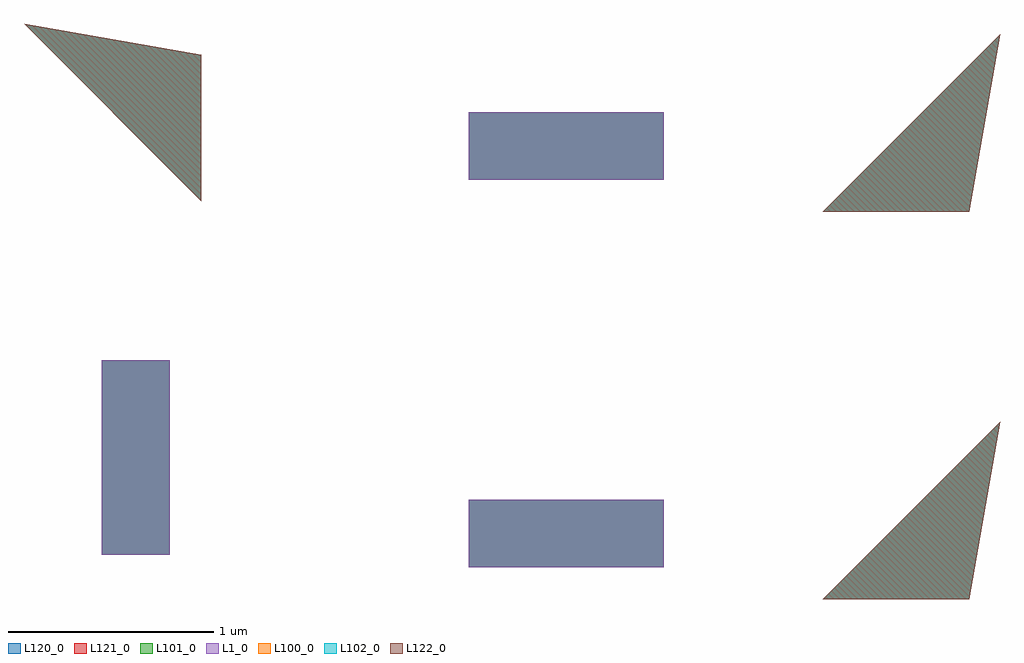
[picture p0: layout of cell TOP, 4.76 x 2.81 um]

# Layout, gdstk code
import gdstk
lib = gdstk.Library(unit=1e-6, precision=1e-09)
def R(c, l, rs):  # rectangles x0, y0, x1, y1
    for r in rs: c.add(gdstk.rectangle(r[:2], r[2:], *l))
def P(c, l, *ps):  # polygons
    for p in ps: c.add(gdstk.Polygon(p, *l))
L1_0 = (1, 0)
L100_0 = (100, 0)
L101_0 = (101, 0)
L102_0 = (102, 0)
L120_0 = (120, 0)
L121_0 = (121, 0)
L122_0 = (122, 0)
L200_0 = (200, 0)
L201_0 = (201, 0)
L202_0 = (202, 0)
L203_0 = (203, 0)
L204_0 = (204, 0)
L205_0 = (205, 0)
L220_0 = (220, 0)
L221_0 = (221, 0)
L222_0 = (222, 0)
L223_0 = (223, 0)
L224_0 = (224, 0)
L225_0 = (225, 0)

top = lib.new_cell('TOP')
R(top, L1_0, [(-1.47,0.58,-0.52,0.91), (-3.26,0.64,-2.93,1.59), (-1.47,2.47,-0.52,2.8)])
P(top, L1_0, [(0.255,0.425),(1.12,1.29),(0.97,0.425)],
  [(-2.775,2.365),(-3.64,3.23),(-2.775,3.08)],
  [(0.255,2.315),(1.12,3.18),(0.97,2.315)])
P(top, L100_0, [(0.255,0.425),(1.12,1.29),(0.97,0.425)],
  [(0.255,2.315),(1.12,3.18),(0.97,2.315)],
  [(-2.775,2.365),(-3.64,3.23),(-2.775,3.08)])
P(top, L101_0, [(-1.47,0.58),(-1.47,0.91),(-0.52,0.91)],
  [(-0.52,0.58),(-1.47,0.91),(-0.52,0.91)],
  [(-1.47,0.58),(-0.52,0.91),(-0.52,0.58)],
  [(-1.47,0.58),(-1.47,0.91),(-0.52,0.58)],
  [(-3.26,0.64),(-3.26,1.59),(-2.93,1.59)],
  [(-2.93,0.64),(-3.26,1.59),(-2.93,1.59)],
  [(-3.26,0.64),(-2.93,1.59),(-2.93,0.64)],
  [(-3.26,0.64),(-3.26,1.59),(-2.93,0.64)],
  [(-1.47,2.47),(-1.47,2.8),(-0.52,2.8)],
  [(-0.52,2.47),(-1.47,2.8),(-0.52,2.8)],
  [(-1.47,2.47),(-0.52,2.8),(-0.52,2.47)],
  [(-1.47,2.47),(-1.47,2.8),(-0.52,2.47)])
P(top, L102_0, [(0.255,0.425),(1.12,1.29),(0.97,0.425)],
  [(0.255,2.315),(1.12,3.18),(0.97,2.315)],
  [(-2.775,2.365),(-3.64,3.23),(-2.775,3.08)])
P(top, L120_0, [(-1.47,0.58),(-1.47,0.91),(-0.52,0.91)],
  [(-0.52,0.58),(-1.47,0.91),(-0.52,0.91)],
  [(-1.47,0.58),(-0.52,0.91),(-0.52,0.58)],
  [(-1.47,0.58),(-1.47,0.91),(-0.52,0.58)],
  [(0.255,0.425),(1.12,1.29),(0.97,0.425)],
  [(0.255,0.425),(1.12,1.29),(0.97,0.425)],
  [(-3.26,0.64),(-3.26,1.59),(-2.93,1.59)],
  [(-2.93,0.64),(-3.26,1.59),(-2.93,1.59)],
  [(-3.26,0.64),(-2.93,1.59),(-2.93,0.64)],
  [(-3.26,0.64),(-3.26,1.59),(-2.93,0.64)],
  [(-1.47,2.47),(-1.47,2.8),(-0.52,2.8)],
  [(-0.52,2.47),(-1.47,2.8),(-0.52,2.8)],
  [(-1.47,2.47),(-0.52,2.8),(-0.52,2.47)],
  [(-1.47,2.47),(-1.47,2.8),(-0.52,2.47)],
  [(0.255,2.315),(1.12,3.18),(0.97,2.315)],
  [(0.255,2.315),(1.12,3.18),(0.97,2.315)],
  [(-2.775,2.365),(-3.64,3.23),(-2.775,3.08)],
  [(-2.775,2.365),(-3.64,3.23),(-2.775,3.08)])
P(top, L121_0, [(0.255,0.425),(1.12,1.29),(0.97,0.425)],
  [(0.255,0.425),(1.12,1.29),(0.97,0.425)],
  [(0.255,0.425),(1.12,1.29),(0.97,0.425)],
  [(0.255,2.315),(1.12,3.18),(0.97,2.315)],
  [(0.255,2.315),(1.12,3.18),(0.97,2.315)],
  [(0.255,2.315),(1.12,3.18),(0.97,2.315)],
  [(-2.775,2.365),(-3.64,3.23),(-2.775,3.08)],
  [(-2.775,2.365),(-3.64,3.23),(-2.775,3.08)],
  [(-2.775,2.365),(-3.64,3.23),(-2.775,3.08)])
P(top, L122_0, [(0.255,0.425),(1.12,1.29),(0.97,0.425)],
  [(0.255,2.315),(1.12,3.18),(0.97,2.315)],
  [(-2.775,2.365),(-3.64,3.23),(-2.775,3.08)])
top.add(gdstk.FlexPath([(0.255,0.425),(1.12,1.29)], 0, ends="flush", simple_path=True, layer=200, datatype=0))  # L200_0
top.add(gdstk.FlexPath([(0.255,2.315),(1.12,3.18)], 0, ends="flush", simple_path=True, layer=200, datatype=0))  # L200_0
top.add(gdstk.FlexPath([(-1.47,0.91),(-0.52,0.91)], 0, ends="flush", simple_path=True, layer=201, datatype=0))  # L201_0
top.add(gdstk.FlexPath([(-0.52,0.58),(-1.47,0.58)], 0, ends="flush", simple_path=True, layer=201, datatype=0))  # L201_0
top.add(gdstk.FlexPath([(0.97,0.425),(0.255,0.425)], 0, ends="flush", simple_path=True, layer=201, datatype=0))  # L201_0
top.add(gdstk.FlexPath([(-3.26,1.59),(-2.93,1.59)], 0, ends="flush", simple_path=True, layer=201, datatype=0))  # L201_0
top.add(gdstk.FlexPath([(-2.93,0.64),(-3.26,0.64)], 0, ends="flush", simple_path=True, layer=201, datatype=0))  # L201_0
top.add(gdstk.FlexPath([(-1.47,2.8),(-0.52,2.8)], 0, ends="flush", simple_path=True, layer=201, datatype=0))  # L201_0
top.add(gdstk.FlexPath([(-0.52,2.47),(-1.47,2.47)], 0, ends="flush", simple_path=True, layer=201, datatype=0))  # L201_0
top.add(gdstk.FlexPath([(0.97,2.315),(0.255,2.315)], 0, ends="flush", simple_path=True, layer=201, datatype=0))  # L201_0
top.add(gdstk.FlexPath([(-1.47,0.58),(-1.47,0.91)], 0, ends="flush", simple_path=True, layer=202, datatype=0))  # L202_0
top.add(gdstk.FlexPath([(-0.52,0.91),(-0.52,0.58)], 0, ends="flush", simple_path=True, layer=202, datatype=0))  # L202_0
top.add(gdstk.FlexPath([(0.255,0.425),(1.12,1.29)], 0, ends="flush", simple_path=True, layer=202, datatype=0))  # L202_0
top.add(gdstk.FlexPath([(1.12,1.29),(0.97,0.425)], 0, ends="flush", simple_path=True, layer=202, datatype=0))  # L202_0
top.add(gdstk.FlexPath([(-3.26,0.64),(-3.26,1.59)], 0, ends="flush", simple_path=True, layer=202, datatype=0))  # L202_0
top.add(gdstk.FlexPath([(-2.93,1.59),(-2.93,0.64)], 0, ends="flush", simple_path=True, layer=202, datatype=0))  # L202_0
top.add(gdstk.FlexPath([(-1.47,2.47),(-1.47,2.8)], 0, ends="flush", simple_path=True, layer=202, datatype=0))  # L202_0
top.add(gdstk.FlexPath([(-0.52,2.8),(-0.52,2.47)], 0, ends="flush", simple_path=True, layer=202, datatype=0))  # L202_0
top.add(gdstk.FlexPath([(0.255,2.315),(1.12,3.18)], 0, ends="flush", simple_path=True, layer=202, datatype=0))  # L202_0
top.add(gdstk.FlexPath([(1.12,3.18),(0.97,2.315)], 0, ends="flush", simple_path=True, layer=202, datatype=0))  # L202_0
top.add(gdstk.FlexPath([(-2.775,3.08),(-2.775,2.365)], 0, ends="flush", simple_path=True, layer=202, datatype=0))  # L202_0
top.add(gdstk.FlexPath([(0.255,0.425),(1.12,1.29)], 0, ends="flush", simple_path=True, layer=203, datatype=0))  # L203_0
top.add(gdstk.FlexPath([(0.255,2.315),(1.12,3.18)], 0, ends="flush", simple_path=True, layer=203, datatype=0))  # L203_0
top.add(gdstk.FlexPath([(-2.775,2.365),(-3.64,3.23)], 0, ends="flush", simple_path=True, layer=203, datatype=0))  # L203_0
top.add(gdstk.FlexPath([(-1.47,0.58),(-1.47,0.91)], 0, ends="flush", simple_path=True, layer=204, datatype=0))  # L204_0
top.add(gdstk.FlexPath([(-0.52,0.91),(-0.52,0.58)], 0, ends="flush", simple_path=True, layer=204, datatype=0))  # L204_0
top.add(gdstk.FlexPath([(0.255,0.425),(1.12,1.29)], 0, ends="flush", simple_path=True, layer=204, datatype=0))  # L204_0
top.add(gdstk.FlexPath([(1.12,1.29),(0.97,0.425)], 0, ends="flush", simple_path=True, layer=204, datatype=0))  # L204_0
top.add(gdstk.FlexPath([(-3.26,0.64),(-3.26,1.59)], 0, ends="flush", simple_path=True, layer=204, datatype=0))  # L204_0
top.add(gdstk.FlexPath([(-2.93,1.59),(-2.93,0.64)], 0, ends="flush", simple_path=True, layer=204, datatype=0))  # L204_0
top.add(gdstk.FlexPath([(-1.47,2.47),(-1.47,2.8)], 0, ends="flush", simple_path=True, layer=204, datatype=0))  # L204_0
top.add(gdstk.FlexPath([(-0.52,2.8),(-0.52,2.47)], 0, ends="flush", simple_path=True, layer=204, datatype=0))  # L204_0
top.add(gdstk.FlexPath([(0.255,2.315),(1.12,3.18)], 0, ends="flush", simple_path=True, layer=204, datatype=0))  # L204_0
top.add(gdstk.FlexPath([(1.12,3.18),(0.97,2.315)], 0, ends="flush", simple_path=True, layer=204, datatype=0))  # L204_0
top.add(gdstk.FlexPath([(-2.775,2.365),(-3.64,3.23)], 0, ends="flush", simple_path=True, layer=204, datatype=0))  # L204_0
top.add(gdstk.FlexPath([(-2.775,3.08),(-2.775,2.365)], 0, ends="flush", simple_path=True, layer=204, datatype=0))  # L204_0
top.add(gdstk.FlexPath([(-1.47,0.58),(-1.47,0.91)], 0, ends="flush", simple_path=True, layer=205, datatype=0))  # L205_0
top.add(gdstk.FlexPath([(-0.52,0.91),(-0.52,0.58)], 0, ends="flush", simple_path=True, layer=205, datatype=0))  # L205_0
top.add(gdstk.FlexPath([(0.255,0.425),(1.12,1.29)], 0, ends="flush", simple_path=True, layer=205, datatype=0))  # L205_0
top.add(gdstk.FlexPath([(1.12,1.29),(0.97,0.425)], 0, ends="flush", simple_path=True, layer=205, datatype=0))  # L205_0
top.add(gdstk.FlexPath([(-3.26,0.64),(-3.26,1.59)], 0, ends="flush", simple_path=True, layer=205, datatype=0))  # L205_0
top.add(gdstk.FlexPath([(-2.93,1.59),(-2.93,0.64)], 0, ends="flush", simple_path=True, layer=205, datatype=0))  # L205_0
top.add(gdstk.FlexPath([(-1.47,2.47),(-1.47,2.8)], 0, ends="flush", simple_path=True, layer=205, datatype=0))  # L205_0
top.add(gdstk.FlexPath([(-0.52,2.8),(-0.52,2.47)], 0, ends="flush", simple_path=True, layer=205, datatype=0))  # L205_0
top.add(gdstk.FlexPath([(0.255,2.315),(1.12,3.18)], 0, ends="flush", simple_path=True, layer=205, datatype=0))  # L205_0
top.add(gdstk.FlexPath([(1.12,3.18),(0.97,2.315)], 0, ends="flush", simple_path=True, layer=205, datatype=0))  # L205_0
top.add(gdstk.FlexPath([(-2.775,2.365),(-3.64,3.23)], 0, ends="flush", simple_path=True, layer=205, datatype=0))  # L205_0
top.add(gdstk.FlexPath([(-2.775,3.08),(-2.775,2.365)], 0, ends="flush", simple_path=True, layer=205, datatype=0))  # L205_0
top.add(gdstk.FlexPath([(-1.47,0.58),(-1.47,0.91)], 0, ends="flush", simple_path=True, layer=220, datatype=0))  # L220_0
top.add(gdstk.FlexPath([(-1.47,0.91),(-0.52,0.91)], 0, ends="flush", simple_path=True, layer=220, datatype=0))  # L220_0
top.add(gdstk.FlexPath([(-0.52,0.91),(-0.52,0.58)], 0, ends="flush", simple_path=True, layer=220, datatype=0))  # L220_0
top.add(gdstk.FlexPath([(-0.52,0.58),(-1.47,0.58)], 0, ends="flush", simple_path=True, layer=220, datatype=0))  # L220_0
top.add(gdstk.FlexPath([(1.12,1.29),(0.97,0.425)], 0, ends="flush", simple_path=True, layer=220, datatype=0))  # L220_0
top.add(gdstk.FlexPath([(0.97,0.425),(0.255,0.425)], 0, ends="flush", simple_path=True, layer=220, datatype=0))  # L220_0
top.add(gdstk.FlexPath([(-3.26,0.64),(-3.26,1.59)], 0, ends="flush", simple_path=True, layer=220, datatype=0))  # L220_0
top.add(gdstk.FlexPath([(-3.26,1.59),(-2.93,1.59)], 0, ends="flush", simple_path=True, layer=220, datatype=0))  # L220_0
top.add(gdstk.FlexPath([(-2.93,1.59),(-2.93,0.64)], 0, ends="flush", simple_path=True, layer=220, datatype=0))  # L220_0
top.add(gdstk.FlexPath([(-2.93,0.64),(-3.26,0.64)], 0, ends="flush", simple_path=True, layer=220, datatype=0))  # L220_0
top.add(gdstk.FlexPath([(-1.47,2.47),(-1.47,2.8)], 0, ends="flush", simple_path=True, layer=220, datatype=0))  # L220_0
top.add(gdstk.FlexPath([(-1.47,2.8),(-0.52,2.8)], 0, ends="flush", simple_path=True, layer=220, datatype=0))  # L220_0
top.add(gdstk.FlexPath([(-0.52,2.8),(-0.52,2.47)], 0, ends="flush", simple_path=True, layer=220, datatype=0))  # L220_0
top.add(gdstk.FlexPath([(-0.52,2.47),(-1.47,2.47)], 0, ends="flush", simple_path=True, layer=220, datatype=0))  # L220_0
top.add(gdstk.FlexPath([(1.12,3.18),(0.97,2.315)], 0, ends="flush", simple_path=True, layer=220, datatype=0))  # L220_0
top.add(gdstk.FlexPath([(0.97,2.315),(0.255,2.315)], 0, ends="flush", simple_path=True, layer=220, datatype=0))  # L220_0
top.add(gdstk.FlexPath([(-2.775,2.365),(-3.64,3.23)], 0, ends="flush", simple_path=True, layer=220, datatype=0))  # L220_0
top.add(gdstk.FlexPath([(-3.64,3.23),(-2.775,3.08)], 0, ends="flush", simple_path=True, layer=220, datatype=0))  # L220_0
top.add(gdstk.FlexPath([(-2.775,3.08),(-2.775,2.365)], 0, ends="flush", simple_path=True, layer=220, datatype=0))  # L220_0
top.add(gdstk.FlexPath([(-1.47,0.58),(-1.47,0.91)], 0, ends="flush", simple_path=True, layer=221, datatype=0))  # L221_0
top.add(gdstk.FlexPath([(-0.52,0.91),(-0.52,0.58)], 0, ends="flush", simple_path=True, layer=221, datatype=0))  # L221_0
top.add(gdstk.FlexPath([(0.255,0.425),(1.12,1.29)], 0, ends="flush", simple_path=True, layer=221, datatype=0))  # L221_0
top.add(gdstk.FlexPath([(1.12,1.29),(0.97,0.425)], 0, ends="flush", simple_path=True, layer=221, datatype=0))  # L221_0
top.add(gdstk.FlexPath([(-3.26,0.64),(-3.26,1.59)], 0, ends="flush", simple_path=True, layer=221, datatype=0))  # L221_0
top.add(gdstk.FlexPath([(-2.93,1.59),(-2.93,0.64)], 0, ends="flush", simple_path=True, layer=221, datatype=0))  # L221_0
top.add(gdstk.FlexPath([(-1.47,2.47),(-1.47,2.8)], 0, ends="flush", simple_path=True, layer=221, datatype=0))  # L221_0
top.add(gdstk.FlexPath([(-0.52,2.8),(-0.52,2.47)], 0, ends="flush", simple_path=True, layer=221, datatype=0))  # L221_0
top.add(gdstk.FlexPath([(0.255,2.315),(1.12,3.18)], 0, ends="flush", simple_path=True, layer=221, datatype=0))  # L221_0
top.add(gdstk.FlexPath([(1.12,3.18),(0.97,2.315)], 0, ends="flush", simple_path=True, layer=221, datatype=0))  # L221_0
top.add(gdstk.FlexPath([(-2.775,2.365),(-3.64,3.23)], 0, ends="flush", simple_path=True, layer=221, datatype=0))  # L221_0
top.add(gdstk.FlexPath([(-3.64,3.23),(-2.775,3.08)], 0, ends="flush", simple_path=True, layer=221, datatype=0))  # L221_0
top.add(gdstk.FlexPath([(-2.775,3.08),(-2.775,2.365)], 0, ends="flush", simple_path=True, layer=221, datatype=0))  # L221_0
top.add(gdstk.FlexPath([(-1.47,0.91),(-0.52,0.91)], 0, ends="flush", simple_path=True, layer=222, datatype=0))  # L222_0
top.add(gdstk.FlexPath([(-0.52,0.58),(-1.47,0.58)], 0, ends="flush", simple_path=True, layer=222, datatype=0))  # L222_0
top.add(gdstk.FlexPath([(0.97,0.425),(0.255,0.425)], 0, ends="flush", simple_path=True, layer=222, datatype=0))  # L222_0
top.add(gdstk.FlexPath([(-3.26,1.59),(-2.93,1.59)], 0, ends="flush", simple_path=True, layer=222, datatype=0))  # L222_0
top.add(gdstk.FlexPath([(-2.93,0.64),(-3.26,0.64)], 0, ends="flush", simple_path=True, layer=222, datatype=0))  # L222_0
top.add(gdstk.FlexPath([(-1.47,2.8),(-0.52,2.8)], 0, ends="flush", simple_path=True, layer=222, datatype=0))  # L222_0
top.add(gdstk.FlexPath([(-0.52,2.47),(-1.47,2.47)], 0, ends="flush", simple_path=True, layer=222, datatype=0))  # L222_0
top.add(gdstk.FlexPath([(0.97,2.315),(0.255,2.315)], 0, ends="flush", simple_path=True, layer=222, datatype=0))  # L222_0
top.add(gdstk.FlexPath([(-2.775,2.365),(-3.64,3.23)], 0, ends="flush", simple_path=True, layer=222, datatype=0))  # L222_0
top.add(gdstk.FlexPath([(-3.64,3.23),(-2.775,3.08)], 0, ends="flush", simple_path=True, layer=222, datatype=0))  # L222_0
top.add(gdstk.FlexPath([(-1.47,0.58),(-1.47,0.91)], 0, ends="flush", simple_path=True, layer=223, datatype=0))  # L223_0
top.add(gdstk.FlexPath([(-1.47,0.91),(-0.52,0.91)], 0, ends="flush", simple_path=True, layer=223, datatype=0))  # L223_0
top.add(gdstk.FlexPath([(-0.52,0.91),(-0.52,0.58)], 0, ends="flush", simple_path=True, layer=223, datatype=0))  # L223_0
top.add(gdstk.FlexPath([(-0.52,0.58),(-1.47,0.58)], 0, ends="flush", simple_path=True, layer=223, datatype=0))  # L223_0
top.add(gdstk.FlexPath([(1.12,1.29),(0.97,0.425)], 0, ends="flush", simple_path=True, layer=223, datatype=0))  # L223_0
top.add(gdstk.FlexPath([(0.97,0.425),(0.255,0.425)], 0, ends="flush", simple_path=True, layer=223, datatype=0))  # L223_0
top.add(gdstk.FlexPath([(-3.26,0.64),(-3.26,1.59)], 0, ends="flush", simple_path=True, layer=223, datatype=0))  # L223_0
top.add(gdstk.FlexPath([(-3.26,1.59),(-2.93,1.59)], 0, ends="flush", simple_path=True, layer=223, datatype=0))  # L223_0
top.add(gdstk.FlexPath([(-2.93,1.59),(-2.93,0.64)], 0, ends="flush", simple_path=True, layer=223, datatype=0))  # L223_0
top.add(gdstk.FlexPath([(-2.93,0.64),(-3.26,0.64)], 0, ends="flush", simple_path=True, layer=223, datatype=0))  # L223_0
top.add(gdstk.FlexPath([(-1.47,2.47),(-1.47,2.8)], 0, ends="flush", simple_path=True, layer=223, datatype=0))  # L223_0
top.add(gdstk.FlexPath([(-1.47,2.8),(-0.52,2.8)], 0, ends="flush", simple_path=True, layer=223, datatype=0))  # L223_0
top.add(gdstk.FlexPath([(-0.52,2.8),(-0.52,2.47)], 0, ends="flush", simple_path=True, layer=223, datatype=0))  # L223_0
top.add(gdstk.FlexPath([(-0.52,2.47),(-1.47,2.47)], 0, ends="flush", simple_path=True, layer=223, datatype=0))  # L223_0
top.add(gdstk.FlexPath([(1.12,3.18),(0.97,2.315)], 0, ends="flush", simple_path=True, layer=223, datatype=0))  # L223_0
top.add(gdstk.FlexPath([(0.97,2.315),(0.255,2.315)], 0, ends="flush", simple_path=True, layer=223, datatype=0))  # L223_0
top.add(gdstk.FlexPath([(-3.64,3.23),(-2.775,3.08)], 0, ends="flush", simple_path=True, layer=223, datatype=0))  # L223_0
top.add(gdstk.FlexPath([(-2.775,3.08),(-2.775,2.365)], 0, ends="flush", simple_path=True, layer=223, datatype=0))  # L223_0
top.add(gdstk.FlexPath([(-1.47,0.91),(-0.52,0.91)], 0, ends="flush", simple_path=True, layer=224, datatype=0))  # L224_0
top.add(gdstk.FlexPath([(-0.52,0.58),(-1.47,0.58)], 0, ends="flush", simple_path=True, layer=224, datatype=0))  # L224_0
top.add(gdstk.FlexPath([(0.97,0.425),(0.255,0.425)], 0, ends="flush", simple_path=True, layer=224, datatype=0))  # L224_0
top.add(gdstk.FlexPath([(-3.26,1.59),(-2.93,1.59)], 0, ends="flush", simple_path=True, layer=224, datatype=0))  # L224_0
top.add(gdstk.FlexPath([(-2.93,0.64),(-3.26,0.64)], 0, ends="flush", simple_path=True, layer=224, datatype=0))  # L224_0
top.add(gdstk.FlexPath([(-1.47,2.8),(-0.52,2.8)], 0, ends="flush", simple_path=True, layer=224, datatype=0))  # L224_0
top.add(gdstk.FlexPath([(-0.52,2.47),(-1.47,2.47)], 0, ends="flush", simple_path=True, layer=224, datatype=0))  # L224_0
top.add(gdstk.FlexPath([(0.97,2.315),(0.255,2.315)], 0, ends="flush", simple_path=True, layer=224, datatype=0))  # L224_0
top.add(gdstk.FlexPath([(-3.64,3.23),(-2.775,3.08)], 0, ends="flush", simple_path=True, layer=224, datatype=0))  # L224_0
top.add(gdstk.FlexPath([(-1.47,0.91),(-0.52,0.91)], 0, ends="flush", simple_path=True, layer=225, datatype=0))  # L225_0
top.add(gdstk.FlexPath([(-0.52,0.58),(-1.47,0.58)], 0, ends="flush", simple_path=True, layer=225, datatype=0))  # L225_0
top.add(gdstk.FlexPath([(0.97,0.425),(0.255,0.425)], 0, ends="flush", simple_path=True, layer=225, datatype=0))  # L225_0
top.add(gdstk.FlexPath([(-3.26,1.59),(-2.93,1.59)], 0, ends="flush", simple_path=True, layer=225, datatype=0))  # L225_0
top.add(gdstk.FlexPath([(-2.93,0.64),(-3.26,0.64)], 0, ends="flush", simple_path=True, layer=225, datatype=0))  # L225_0
top.add(gdstk.FlexPath([(-1.47,2.8),(-0.52,2.8)], 0, ends="flush", simple_path=True, layer=225, datatype=0))  # L225_0
top.add(gdstk.FlexPath([(-0.52,2.47),(-1.47,2.47)], 0, ends="flush", simple_path=True, layer=225, datatype=0))  # L225_0
top.add(gdstk.FlexPath([(0.97,2.315),(0.255,2.315)], 0, ends="flush", simple_path=True, layer=225, datatype=0))  # L225_0
top.add(gdstk.FlexPath([(-3.64,3.23),(-2.775,3.08)], 0, ends="flush", simple_path=True, layer=225, datatype=0))  # L225_0

lib.write_gds('TOP.gds')
